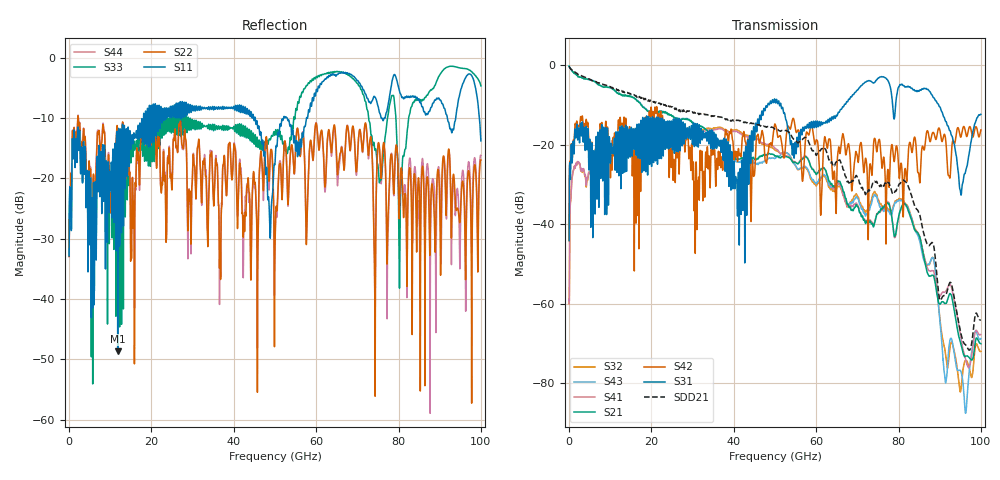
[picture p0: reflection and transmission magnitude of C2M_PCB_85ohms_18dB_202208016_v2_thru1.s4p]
! Info: Touchstone file created by Circ.  Input file=Intel_C2M_200G_6p0in_202208016_staggered.circ
# Hz S RI R 50
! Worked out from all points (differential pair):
!   10000 points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, 10 MHz to 100 GHz, reference 50 ohm
!   strongest paths, dB at 10 MHz, 25.01 GHz, 50.01 GHz, 75.01 GHz, 100 GHz:
!     S31: -44.1, -16.4, -8.9, -3.2, -12.3
!     S42: -44.1, -18.8, -14.8, -19.7, -16.3
!     S21: -0.2, -12.8, -22.9, -37.3, -70.1
!     S41: -60.0, -18.4, -20.9, -37.3, -67.8
!     S43: -0.2, -12.7, -23.4, -34.4, -68.8
!     S32: -60.0, -17.9, -21.3, -33.8, -72.1
!   taken as a pair (ports 1,3 in; 2,4 out), SDD21 dB: -0.2, -10.5, -16.1, -30.0, -64.1
!   lowest |S11| = -48.7 dB at 11.81 GHz (marker M1), VSWR 1.01, Z = 49.9 - j0.353 ohm
!   |S11| at or under -10 dB: start of sweep to 18.05 GHz; 45.19 GHz to 52.07 GHz (6.88 GHz wide, 14.1 % of centre); 52.96 GHz to 57.65 GHz (4.69 GHz wide, 8.48 % of centre)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
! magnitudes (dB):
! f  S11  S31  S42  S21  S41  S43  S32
! 10 MHz  -32.8  -44.1  -44.1  -0.2  -60.0  -0.2  -60.0
! 1.31 GHz  -13.6  -18.9  -17.5  -2.0  -25.4  -2.0  -25.4
! 11.81 GHz  -48.7  -17.2  -17.6  -6.9  -17.8  -6.9  -17.7
! 41.32 GHz  -7.9  -44.6  -22.7  -23.6  -17.1  -24.2  -16.6
! 80.81 GHz  -6.6  -4.7  -25.9  -35.5  -35.7  -34.1  -33.8
! 91.35 GHz  -8.8  -14.0  -18.0  -60.0  -57.0  -79.7  -72.2
! 100 GHz  -13.8  -12.3  -16.3  -70.1  -67.8  -68.8  -72.1
